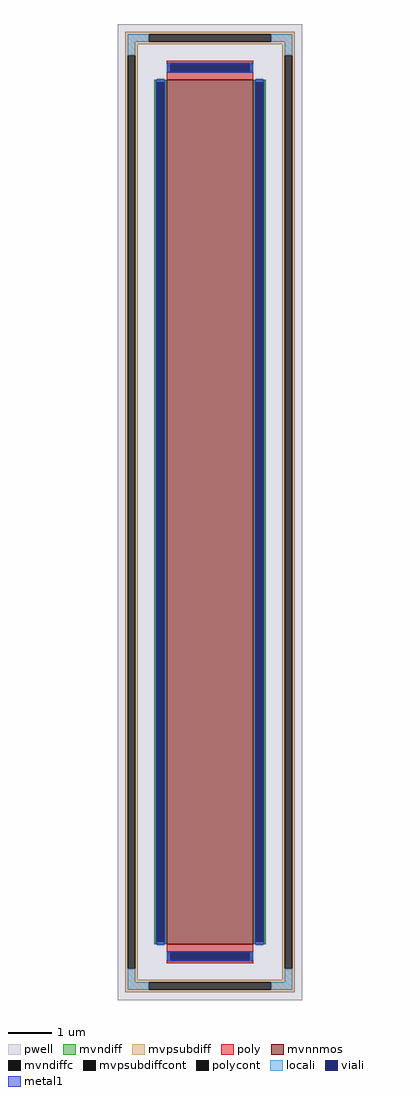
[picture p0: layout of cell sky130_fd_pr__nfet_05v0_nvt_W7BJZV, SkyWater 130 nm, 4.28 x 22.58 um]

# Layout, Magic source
magic
tech sky130A
<< pwell >>
rect -214 -1129 214 1129
<< mvnnmos >>
rect -100 -1000 100 1000
<< mvndiff >>
rect -129 994 -100 1000
rect -129 -994 -123 994
rect -106 -994 -100 994
rect -129 -1000 -100 -994
rect 100 994 129 1000
rect 100 -994 106 994
rect 123 -994 129 994
rect 100 -1000 129 -994
<< mvndiffc >>
rect -123 -994 -106 994
rect 106 -994 123 994
<< mvpsubdiff >>
rect -196 1105 196 1111
rect -196 1088 -142 1105
rect 142 1088 196 1105
rect -196 1082 196 1088
rect -196 1057 -167 1082
rect -196 -1057 -190 1057
rect -173 -1057 -167 1057
rect 167 1057 196 1082
rect -196 -1082 -167 -1057
rect 167 -1057 173 1057
rect 190 -1057 196 1057
rect 167 -1082 196 -1057
rect -196 -1088 196 -1082
rect -196 -1105 -142 -1088
rect 142 -1105 196 -1088
rect -196 -1111 196 -1105
<< mvpsubdiffcont >>
rect -142 1088 142 1105
rect -190 -1057 -173 1057
rect 173 -1057 190 1057
rect -142 -1105 142 -1088
<< poly >>
rect -100 1036 100 1044
rect -100 1019 -92 1036
rect 92 1019 100 1036
rect -100 1000 100 1019
rect -100 -1019 100 -1000
rect -100 -1036 -92 -1019
rect 92 -1036 100 -1019
rect -100 -1044 100 -1036
<< polycont >>
rect -92 1019 92 1036
rect -92 -1036 92 -1019
<< locali >>
rect -190 1088 -142 1105
rect 142 1088 190 1105
rect -190 1057 -173 1088
rect 173 1057 190 1088
rect -100 1019 -92 1036
rect 92 1019 100 1036
rect -123 994 -106 1002
rect -123 -1002 -106 -994
rect 106 994 123 1002
rect 106 -1002 123 -994
rect -100 -1036 -92 -1019
rect 92 -1036 100 -1019
rect -190 -1088 -173 -1057
rect 173 -1088 190 -1057
rect -190 -1105 -142 -1088
rect 142 -1105 190 -1088
<< viali >>
rect -92 1019 92 1036
rect -123 -994 -106 994
rect 106 -994 123 994
rect -92 -1036 92 -1019
<< metal1 >>
rect -98 1036 98 1039
rect -98 1019 -92 1036
rect 92 1019 98 1036
rect -98 1016 98 1019
rect -126 994 -103 1000
rect -126 -994 -123 994
rect -106 -994 -103 994
rect -126 -1000 -103 -994
rect 103 994 126 1000
rect 103 -994 106 994
rect 123 -994 126 994
rect 103 -1000 126 -994
rect -98 -1019 98 -1016
rect -98 -1036 -92 -1019
rect 92 -1036 98 -1019
rect -98 -1039 98 -1036
<< properties >>
string FIXED_BBOX -181 -1096 181 1096
string gencell sky130_fd_pr__nfet_05v0_nvt
string library sky130
string parameters w 20.0 l 2.0 m 1 nf 1 diffcov 100 polycov 100 guard 1 glc 1 grc 1 gtc 1 gbc 1 tbcov 100 rlcov 100 topc 1 botc 1 poverlap 0 doverlap 1 lmin 0.90 wmin 0.42 compatible {sky130_fd_pr__nfet_01v8 sky130_fd_pr__nfet_01v8_lvt  sky130_fd_bs_flash__special_sonosfet_star  sky130_fd_pr__nfet_g5v0d10v5 sky130_fd_pr__nfet_05v0_nvt  sky130_fd_pr__nfet_03v3_nvt} full_metal 1 viasrc 100 viadrn 100 viagate 100 viagb 0 viagr 0 viagl 0 viagt 0
<< end >>
